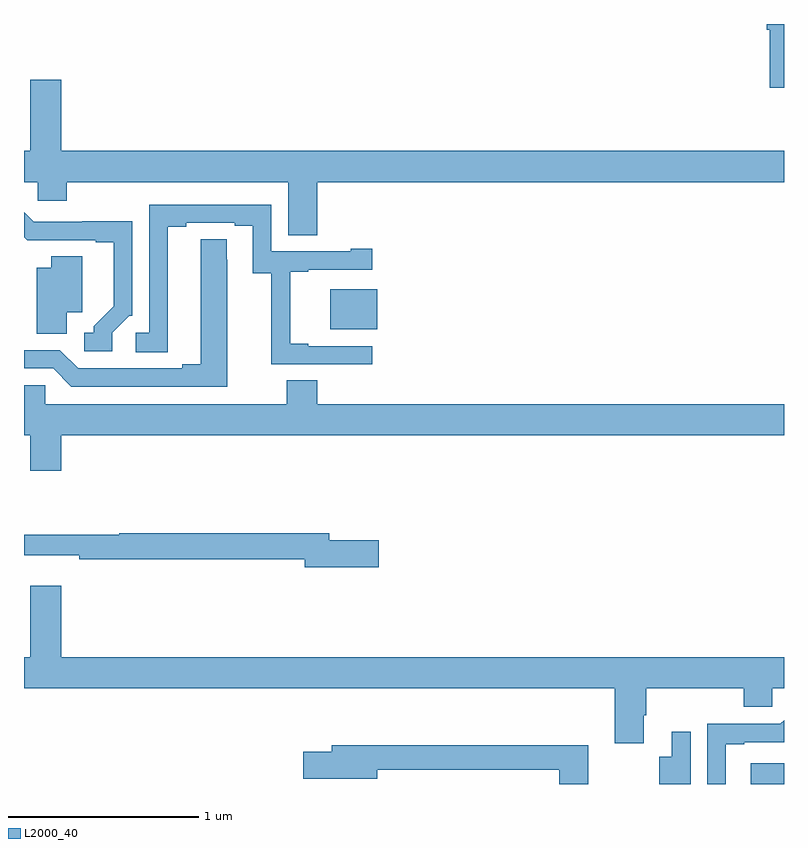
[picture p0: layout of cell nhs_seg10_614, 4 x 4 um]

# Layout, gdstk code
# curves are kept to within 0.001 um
import gdstk
lib = gdstk.Library(unit=1e-6, precision=1e-09)
def R(c, l, rs):  # rectangles x0, y0, x1, y1
    for r in rs: c.add(gdstk.rectangle(r[:2], r[2:], *l))
def P(c, l, *ps):  # polygons
    for p in ps: c.add(gdstk.Polygon(p, *l))
L2000_40 = (2000, 40)

nhs_seg10_614 = lib.new_cell('nhs_seg10_614')
R(nhs_seg10_614, L2000_40, [(144.824,1278.5,145,1278.61), (142.613,1280.894,142.858,1281.103)])
P(nhs_seg10_614, L2000_40, [(145,1282.5),(144.908,1282.5),(144.908,1282.47),(144.926,1282.47),(144.926,1282.164),(145,1282.164)],
  [(142.544,1281.668),(145,1281.668),(145,1281.832),(141.196,1281.832),(141.196,1282.207),(141.032,1282.207),(141.032,1281.832),(141,1281.832),(141,1281.668),(141.072,1281.668),(141.072,1281.57),(141.224,1281.57),(141.224,1281.668),(142.391,1281.668),(142.391,1281.388),(142.544,1281.388)],
  [(142.834,1280.805),(142.495,1280.805),(142.495,1280.818),(142.4,1280.818),(142.4,1281.195),(142.495,1281.195),(142.495,1281.207),(142.834,1281.207),(142.834,1281.316),(142.721,1281.316),(142.721,1281.303),(142.302,1281.303),(142.302,1281.549),(141.66,1281.549),(141.66,1280.874),(141.588,1280.874),(141.588,1280.773),(141.757,1280.773),(141.757,1281.433),(141.853,1281.433),(141.853,1281.453),(142.109,1281.453),(142.109,1281.438),(142.205,1281.438),(142.205,1281.187),(142.3,1281.187),(142.3,1280.709),(142.834,1280.709)],
  [(141.465,1280.874),(141.555,1280.964),(141.57,1280.964),(141.57,1281.461),(141.307,1281.461),(141.307,1281.459),(141.051,1281.459),(141,1281.51),(141,1281.378),(141.016,1281.362),(141.377,1281.363),(141.377,1281.351),(141.473,1281.351),(141.473,1281.014),(141.368,1280.909),(141.368,1280.874),(141.318,1280.874),(141.318,1280.778),(141.465,1280.778)],
  [(142.069,1281.26),(142.068,1281.368),(141.929,1281.368),(141.929,1280.708),(141.833,1280.708),(141.833,1280.688),(141.285,1280.688),(141.189,1280.784),(141,1280.784),(141,1280.688),(141.153,1280.688),(141.249,1280.592),(142.069,1280.592)],
  [(141.226,1280.984),(141.307,1280.984),(141.307,1281.278),(141.143,1281.278),(141.143,1281.217),(141.068,1281.217),(141.068,1280.869),(141.226,1280.869)],
  [(141.196,1280.336),(145,1280.336),(145,1280.5),(142.544,1280.5),(142.544,1280.624),(142.384,1280.624),(142.384,1280.5),(141.111,1280.5),(141.111,1280.598),(141,1280.598),(141,1280.336),(141.032,1280.336),(141.032,1280.148),(141.196,1280.148)],
  [(142.867,1279.784),(142.606,1279.784),(142.606,1279.82),(141.502,1279.82),(141.502,1279.813),(141,1279.813),(141,1279.703),(141.292,1279.703),(141.292,1279.684),(142.478,1279.684),(142.478,1279.642),(142.867,1279.642)],
  [(144.262,1278.862),(144.275,1278.862),(144.275,1279.004),(144.788,1279.004),(144.788,1278.906),(144.939,1278.906),(144.939,1279.004),(145,1279.004),(145,1279.168),(141.196,1279.168),(141.196,1279.543),(141.032,1279.543),(141.032,1279.168),(141,1279.168),(141,1279.004),(144.11,1279.004),(144.11,1278.714),(144.262,1278.714)],
  [(144.694,1278.708),(144.79,1278.708),(144.79,1278.72),(145,1278.72),(145,1278.835),(144.981,1278.816),(144.597,1278.816),(144.597,1278.5),(144.694,1278.5)],
  [(144.51,1278.539),(144.508,1278.539),(144.508,1278.775),(144.41,1278.775),(144.41,1278.643),(144.343,1278.643),(144.343,1278.5),(144.51,1278.5)],
  [(143.97,1278.703),(142.619,1278.703),(142.619,1278.669),(142.47,1278.669),(142.47,1278.527),(142.858,1278.527),(142.858,1278.574),(143.816,1278.574),(143.816,1278.5),(143.97,1278.5)])

lib.write_gds('nhs_seg10_614.gds')
